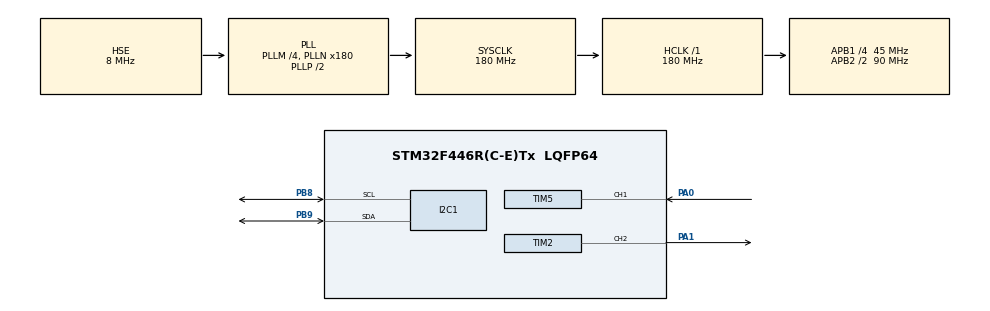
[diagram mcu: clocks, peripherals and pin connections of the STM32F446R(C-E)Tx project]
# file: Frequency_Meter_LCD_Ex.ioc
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Dma.Request0=TIM5_CH1
Dma.TIM5_CH1.0.Direction=DMA_PERIPH_TO_MEMORY
Dma.TIM5_CH1.0.FIFOMode=DMA_FIFOMODE_DISABLE
Dma.TIM5_CH1.0.Instance=DMA1_Stream2
Dma.TIM5_CH1.0.MemDataAlignment=DMA_MDATAALIGN_WORD
Dma.TIM5_CH1.0.MemInc=DMA_MINC_ENABLE
Dma.TIM5_CH1.0.Mode=DMA_NORMAL
Dma.TIM5_CH1.0.PeriphDataAlignment=DMA_PDATAALIGN_WORD
Dma.TIM5_CH1.0.PeriphInc=DMA_PINC_DISABLE
Dma.TIM5_CH1.0.Priority=DMA_PRIORITY_LOW
Mcu.Family=STM32F4
Mcu.Name=STM32F446R(C-E)Tx
Mcu.Package=LQFP64
NVIC.DMA1_Stream2_IRQn=true\:0\:0\:false\:false\:true\:false\:true
NVIC.PriorityGroup=NVIC_PRIORITYGROUP_4
PA0-WKUP.Signal=S_TIM5_CH1
PA1.Signal=S_TIM2_CH2
PB8.Mode=I2C
PB8.Signal=I2C1_SCL
PB9.Mode=I2C
PB9.Signal=I2C1_SDA
PH0-OSC_IN.Mode=HSE-External-Oscillator
PH0-OSC_IN.Signal=RCC_OSC_IN
PH1-OSC_OUT.Mode=HSE-External-Oscillator
PH1-OSC_OUT.Signal=RCC_OSC_OUT
ProjectManager.HeapSize=0x200
ProjectManager.StackSize=0x400
ProjectManager.TargetToolchain=STM32CubeIDE
RCC.AHBFreq_Value=180000000
RCC.APB1CLKDivider=RCC_HCLK_DIV4
RCC.APB1Freq_Value=45000000
RCC.APB1TimFreq_Value=90000000
RCC.APB2CLKDivider=RCC_HCLK_DIV2
RCC.APB2Freq_Value=90000000
RCC.APB2TimFreq_Value=180000000
RCC.CortexFreq_Value=180000000
RCC.HCLKFreq_Value=180000000
RCC.HSE_VALUE=8000000
RCC.PLLM=4
RCC.PLLN=180
RCC.PLLSourceVirtual=RCC_PLLSOURCE_HSE
RCC.SYSCLKFreq_VALUE=180000000
RCC.SYSCLKSource=RCC_SYSCLKSOURCE_PLLCLK
RCC.USBFreq_Value=180000000
RCC.VCOOutputFreq_Value=360000000
SH.S_TIM2_CH2.0=TIM2_CH2,Output Compare2 CH2
SH.S_TIM5_CH1.0=TIM5_CH1,Input_Capture1_from_TI1
TIM2.Channel-Output\ Compare2\ CH2=TIM_CHANNEL_2
TIM2.OCMode_2=TIM_OCMODE_TOGGLE
TIM2.Period=10000-1
TIM2.Prescaler=9000-1
TIM2.Pulse-Output\ Compare2\ CH2=5000
TIM5.Channel-Input_Capture1_from_TI1=TIM_CHANNEL_1
TIM5.ICFilter_CH1=0xF
TIM5.ICPolarity_CH1=TIM_INPUTCHANNELPOLARITY_BOTHEDGE
TIM5.Period=90000000
TIM5.Prescaler=10-1
VP_TIM2_VS_ClockSourceINT.Mode=Internal
VP_TIM5_VS_ClockSourceINT.Mode=Internal
board=custom

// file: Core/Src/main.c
/* USER CODE BEGIN Header */
/**
  ******************************************************************************
  * @file           : main.c
  * @brief          : Main program body
  ******************************************************************************
  * @attention
  *
  * <h2><center>&copy; Copyright (c) 2020 STMicroelectronics.
  * All rights reserved.</center></h2>
  *
  * This software component is licensed by ST under BSD 3-Clause license,
  * the "License"; You may not use this file except in compliance with the
  * License. You may obtain a copy of the License at:
  *                        opensource.org/licenses/BSD-3-Clause
  *
  ******************************************************************************
  */
/* USER CODE END Header */
#include "main.h"

/* USER CODE BEGIN Includes */
#include "i2c-lcd.h"
#include <stdio.h>
/* USER CODE END Includes */

/* USER CODE BEGIN PD */
#define APB1_TIM_CLK	9000000UL

/* USER CODE END PD */

I2C_HandleTypeDef hi2c1;

TIM_HandleTypeDef htim2;
TIM_HandleTypeDef htim5;
DMA_HandleTypeDef hdma_tim5_ch1;

/* USER CODE BEGIN PV */
uint32_t cap_value[4],diffrence=0,diffrence2=0;
int	freq=0;
double duty_cycle=0;
char buff[16];
/* USER CODE END PV */

void SystemClock_Config(void);
static void MX_GPIO_Init(void);
static void MX_DMA_Init(void);
static void MX_I2C1_Init(void);
static void MX_TIM2_Init(void);
static void MX_TIM5_Init(void);

/* USER CODE BEGIN 0 */

/*This program supply 1Hz to 45khz*/

void LCD_print(void)
{
	lcd_send_cmd(0x80);
	lcd_put_cur(0, 0);
	sprintf(buff, "Frequency:%d Hz", freq);
	lcd_send_string(buff);
}
void HAL_TIM_IC_CaptureCallback(TIM_HandleTypeDef *htim)
{
	if(htim->Channel == HAL_TIM_ACTIVE_CHANNEL_1)				//	if the soruce is channel1
	{
		if(cap_value[0]<cap_value[1]){
			diffrence=cap_value[2]-cap_value[0];
			diffrence2=cap_value[1]-cap_value[0];
		}
		else if(cap_value[0]>cap_value[1]){
			diffrence=cap_value[0]-cap_value[2];
			diffrence2=cap_value[0]-cap_value[1];
		}
		else
			Error_Handler();

		freq=2*APB1_TIM_CLK/diffrence;
		duty_cycle=100*(diffrence2/diffrence);
	}
	 LCD_print();
	 HAL_TIM_IC_Start_DMA(&htim5, TIM_CHANNEL_1,cap_value,4);
}

/* USER CODE END 0 */

int main(void)
{

  /* MCU Configuration--------------------------------------------------------*/

  /* Reset of all peripherals, Initializes the Flash interface and the Systick. */
  HAL_Init();

  /* Configure the system clock */
  SystemClock_Config();

  /* Initialize all configured peripherals */
  MX_GPIO_Init();
  MX_DMA_Init();
  MX_I2C1_Init();
  MX_TIM2_Init();
  MX_TIM5_Init();
  /* USER CODE BEGIN 2 */
  lcd_init();
  HAL_TIM_IC_Start_DMA(&htim5, TIM_CHANNEL_1,cap_value,4);
  HAL_TIM_OC_Start(&htim2,TIM_CHANNEL_2	);
  /* USER CODE END 2 */

  /* Infinite loop */
  while (1)
  {

  }
}

void SystemClock_Config(void)
{
  RCC_OscInitTypeDef RCC_OscInitStruct = {0};
  RCC_ClkInitTypeDef RCC_ClkInitStruct = {0};

  /** Configure the main internal regulator output voltage
  */
  __HAL_RCC_PWR_CLK_ENABLE();
  __HAL_PWR_VOLTAGESCALING_CONFIG(PWR_REGULATOR_VOLTAGE_SCALE1);
  /** Initializes the RCC Oscillators according to the specified parameters
  * in the RCC_OscInitTypeDef structure.
  */
  RCC_OscInitStruct.OscillatorType = RCC_OSCILLATORTYPE_HSE;
  RCC_OscInitStruct.HSEState = RCC_HSE_ON;
  RCC_OscInitStruct.PLL.PLLState = RCC_PLL_ON;
  RCC_OscInitStruct.PLL.PLLSource = RCC_PLLSOURCE_HSE;
  RCC_OscInitStruct.PLL.PLLM = 4;
  RCC_OscInitStruct.PLL.PLLN = 180;
  RCC_OscInitStruct.PLL.PLLP = RCC_PLLP_DIV2;
  RCC_OscInitStruct.PLL.PLLQ = 2;
  RCC_OscInitStruct.PLL.PLLR = 2;
  if (HAL_RCC_OscConfig(&RCC_OscInitStruct) != HAL_OK)
  {
    Error_Handler();
  }
  /** Activate the Over-Drive mode
  */
  if (HAL_PWREx_EnableOverDrive() != HAL_OK)
  {
    Error_Handler();
  }
  /** Initializes the CPU, AHB and APB buses clocks
  */
  RCC_ClkInitStruct.ClockType = RCC_CLOCKTYPE_HCLK|RCC_CLOCKTYPE_SYSCLK
                              |RCC_CLOCKTYPE_PCLK1|RCC_CLOCKTYPE_PCLK2;
  RCC_ClkInitStruct.SYSCLKSource = RCC_SYSCLKSOURCE_PLLCLK;
  RCC_ClkInitStruct.AHBCLKDivider = RCC_SYSCLK_DIV1;
  RCC_ClkInitStruct.APB1CLKDivider = RCC_HCLK_DIV4;
  RCC_ClkInitStruct.APB2CLKDivider = RCC_HCLK_DIV2;

  if (HAL_RCC_ClockConfig(&RCC_ClkInitStruct, FLASH_LATENCY_5) != HAL_OK)
  {
    Error_Handler();
  }
}

static void MX_I2C1_Init(void)
{

  hi2c1.Instance = I2C1;
  hi2c1.Init.ClockSpeed = 100000;
  hi2c1.Init.DutyCycle = I2C_DUTYCYCLE_2;
  hi2c1.Init.OwnAddress1 = 0;
  hi2c1.Init.AddressingMode = I2C_ADDRESSINGMODE_7BIT;
  hi2c1.Init.DualAddressMode = I2C_DUALADDRESS_DISABLE;
  hi2c1.Init.OwnAddress2 = 0;
  hi2c1.Init.GeneralCallMode = I2C_GENERALCALL_DISABLE;
  hi2c1.Init.NoStretchMode = I2C_NOSTRETCH_DISABLE;
  if (HAL_I2C_Init(&hi2c1) != HAL_OK)
  {
    Error_Handler();
  }

}

static void MX_TIM2_Init(void)
{

  TIM_ClockConfigTypeDef sClockSourceConfig = {0};
  TIM_MasterConfigTypeDef sMasterConfig = {0};
  TIM_OC_InitTypeDef sConfigOC = {0};

  htim2.Instance = TIM2;
  htim2.Init.Prescaler = 9000-1;
  htim2.Init.CounterMode = TIM_COUNTERMODE_UP;
  htim2.Init.Period = 10000-1;
  htim2.Init.ClockDivision = TIM_CLOCKDIVISION_DIV1;
  htim2.Init.AutoReloadPreload = TIM_AUTORELOAD_PRELOAD_DISABLE;
  if (HAL_TIM_Base_Init(&htim2) != HAL_OK)
  {
    Error_Handler();
  }
  sClockSourceConfig.ClockSource = TIM_CLOCKSOURCE_INTERNAL;
  if (HAL_TIM_ConfigClockSource(&htim2, &sClockSourceConfig) != HAL_OK)
  {
    Error_Handler();
  }
  if (HAL_TIM_OC_Init(&htim2) != HAL_OK)
  {
    Error_Handler();
  }
  sMasterConfig.MasterOutputTrigger = TIM_TRGO_RESET;
  sMasterConfig.MasterSlaveMode = TIM_MASTERSLAVEMODE_DISABLE;
  if (HAL_TIMEx_MasterConfigSynchronization(&htim2, &sMasterConfig) != HAL_OK)
  {
    Error_Handler();
  }
  sConfigOC.OCMode = TIM_OCMODE_TOGGLE;
  sConfigOC.Pulse = 5000;
  sConfigOC.OCPolarity = TIM_OCPOLARITY_HIGH;
  sConfigOC.OCFastMode = TIM_OCFAST_DISABLE;
  if (HAL_TIM_OC_ConfigChannel(&htim2, &sConfigOC, TIM_CHANNEL_2) != HAL_OK)
  {
    Error_Handler();
  }
  HAL_TIM_MspPostInit(&htim2);

}

static void MX_TIM5_Init(void)
{

  TIM_ClockConfigTypeDef sClockSourceConfig = {0};
  TIM_MasterConfigTypeDef sMasterConfig = {0};
  TIM_IC_InitTypeDef sConfigIC = {0};

  htim5.Instance = TIM5;
  htim5.Init.Prescaler = 10-1;
  htim5.Init.CounterMode = TIM_COUNTERMODE_UP;
  htim5.Init.Period = 90000000;
  htim5.Init.ClockDivision = TIM_CLOCKDIVISION_DIV1;
  htim5.Init.AutoReloadPreload = TIM_AUTORELOAD_PRELOAD_DISABLE;
  if (HAL_TIM_Base_Init(&htim5) != HAL_OK)
  {
    Error_Handler();
  }
  sClockSourceConfig.ClockSource = TIM_CLOCKSOURCE_INTERNAL;
  if (HAL_TIM_ConfigClockSource(&htim5, &sClockSourceConfig) != HAL_OK)
  {
    Error_Handler();
  }
  if (HAL_TIM_IC_Init(&htim5) != HAL_OK)
  {
    Error_Handler();
  }
  sMasterConfig.MasterOutputTrigger = TIM_TRGO_RESET;
  sMasterConfig.MasterSlaveMode = TIM_MASTERSLAVEMODE_DISABLE;
  if (HAL_TIMEx_MasterConfigSynchronization(&htim5, &sMasterConfig) != HAL_OK)
  {
    Error_Handler();
  }
  sConfigIC.ICPolarity = TIM_INPUTCHANNELPOLARITY_BOTHEDGE;
  sConfigIC.ICSelection = TIM_ICSELECTION_DIRECTTI;
  sConfigIC.ICPrescaler = TIM_ICPSC_DIV1;
  sConfigIC.ICFilter = 0xF;
  if (HAL_TIM_IC_ConfigChannel(&htim5, &sConfigIC, TIM_CHANNEL_1) != HAL_OK)
  {
    Error_Handler();
  }

}

static void MX_DMA_Init(void)
{

  /* DMA controller clock enable */
  __HAL_RCC_DMA1_CLK_ENABLE();

  /* DMA interrupt init */
  /* DMA1_Stream2_IRQn interrupt configuration */
  HAL_NVIC_SetPriority(DMA1_Stream2_IRQn, 0, 0);
  HAL_NVIC_EnableIRQ(DMA1_Stream2_IRQn);

}

static void MX_GPIO_Init(void)
{

  /* GPIO Ports Clock Enable */
  __HAL_RCC_GPIOH_CLK_ENABLE();
  __HAL_RCC_GPIOA_CLK_ENABLE();
  __HAL_RCC_GPIOB_CLK_ENABLE();

}

void Error_Handler(void)
{
}

/************************ (C) COPYRIGHT STMicroelectronics *****END OF FILE****/
